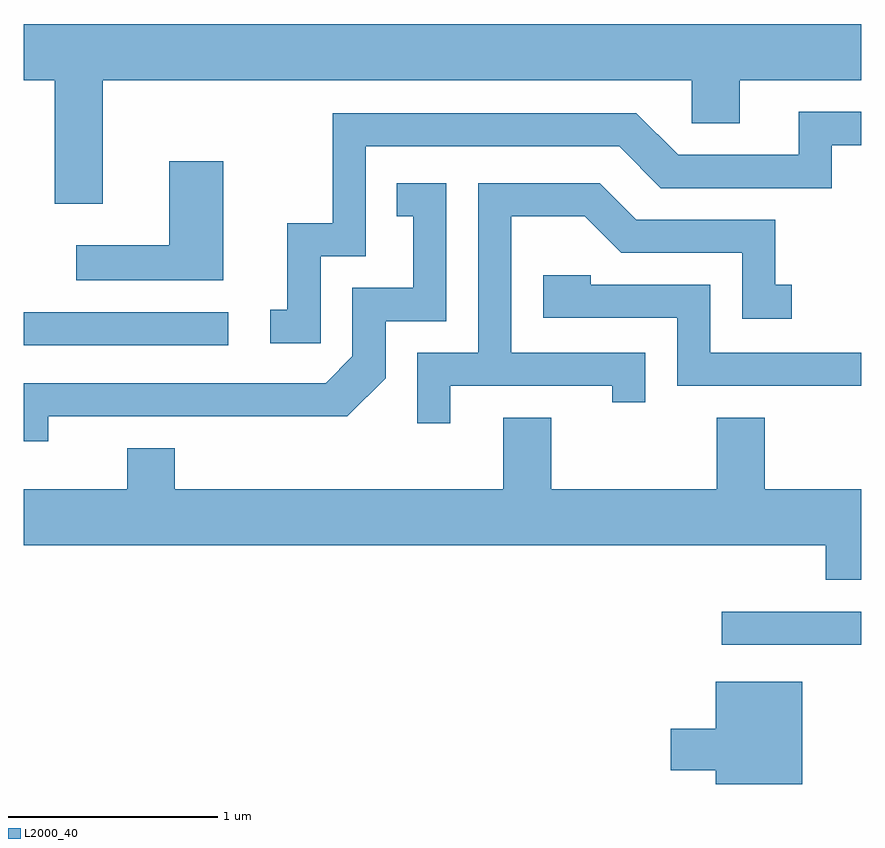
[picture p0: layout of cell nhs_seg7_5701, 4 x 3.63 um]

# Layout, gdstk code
import gdstk
lib = gdstk.Library(unit=1e-6, precision=1e-09)
def R(c, l, rs):  # rectangles x0, y0, x1, y1
    for r in rs: c.add(gdstk.rectangle(r[:2], r[2:], *l))
def P(c, l, *ps):  # polygons
    for p in ps: c.add(gdstk.Polygon(p, *l))
L2000_40 = (2000, 40)

nhs_seg7_5701 = lib.new_cell('nhs_seg7_5701')
R(nhs_seg7_5701, L2000_40, [(362.943,1727.161,363.611,1727.319), (359.611,1728.591,360.588,1728.749)])
P(nhs_seg7_5701, L2000_40, [(359.989,1729.856),(362.801,1729.856),(362.801,1729.651),(363.029,1729.651),(363.029,1729.856),(363.611,1729.856),(363.611,1730.124),(359.611,1730.124),(359.611,1729.856),(359.761,1729.856),(359.761,1729.266),(359.989,1729.266)],
  [(361.029,1729.016),(361.244,1729.016),(361.244,1729.541),(362.454,1729.541),(362.654,1729.341),(363.469,1729.341),(363.469,1729.546),(363.611,1729.546),(363.611,1729.704),(363.311,1729.704),(363.311,1729.499),(362.737,1729.499),(362.537,1729.699),(361.086,1729.699),(361.086,1729.174),(360.871,1729.174),(360.871,1728.759),(360.788,1728.759),(360.788,1728.601),(361.029,1728.601)],
  [(360.564,1729.469),(360.306,1729.469),(360.306,1729.069),(359.863,1729.069),(359.863,1728.901),(360.564,1728.901)],
  [(359.729,1728.251),(361.157,1728.251),(361.339,1728.434),(361.339,1728.706),(361.629,1728.706),(361.629,1729.364),(361.393,1729.364),(361.393,1729.206),(361.471,1729.206),(361.471,1728.864),(361.181,1728.864),(361.181,1728.537),(361.054,1728.409),(359.611,1728.409),(359.611,1728.131),(359.729,1728.131)],
  [(361.649,1728.396),(362.421,1728.396),(362.421,1728.318),(362.579,1728.318),(362.579,1728.554),(361.939,1728.554),(361.939,1729.206),(362.289,1729.206),(362.464,1729.031),(363.041,1729.031),(363.041,1728.716),(363.278,1728.716),(363.278,1728.879),(363.199,1728.879),(363.199,1729.189),(362.537,1729.189),(362.362,1729.364),(361.781,1729.364),(361.781,1728.554),(361.491,1728.554),(361.491,1728.218),(361.649,1728.218)],
  [(363.611,1728.554),(362.889,1728.554),(362.889,1728.879),(362.319,1728.879),(362.319,1728.924),(362.091,1728.924),(362.091,1728.721),(362.731,1728.721),(362.731,1728.396),(363.611,1728.396)],
  [(363.611,1727.904),(363.149,1727.904),(363.149,1728.244),(362.921,1728.244),(362.921,1727.904),(362.129,1727.904),(362.129,1728.244),(361.901,1728.244),(361.901,1727.904),(360.334,1727.904),(360.334,1728.099),(360.106,1728.099),(360.106,1727.904),(359.611,1727.904),(359.611,1727.636),(363.441,1727.636),(363.441,1727.471),(363.611,1727.471)],
  [(363.329,1726.984),(362.916,1726.984),(362.916,1726.759),(362.701,1726.759),(362.701,1726.561),(362.916,1726.561),(362.916,1726.496),(363.329,1726.496)])

lib.write_gds('nhs_seg7_5701.gds')
